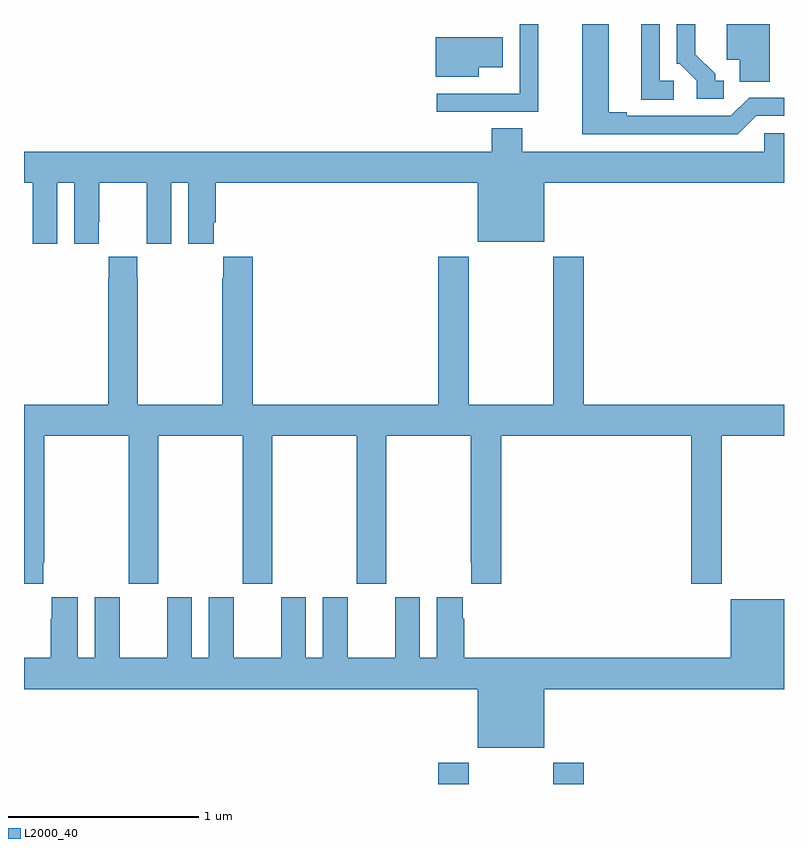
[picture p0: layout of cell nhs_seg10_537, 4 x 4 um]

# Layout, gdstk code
import gdstk
lib = gdstk.Library(unit=1e-6, precision=1e-09)
def R(c, l, rs):  # rectangles x0, y0, x1, y1
    for r in rs: c.add(gdstk.rectangle(r[:2], r[2:], *l))
def P(c, l, *ps):  # polygons
    for p in ps: c.add(gdstk.Polygon(p, *l))
L2000_40 = (2000, 40)

nhs_seg10_537 = lib.new_cell('nhs_seg10_537')
R(nhs_seg10_537, L2000_40, [(139.181,1282.5,139.341,1282.612), (139.786,1282.5,139.946,1282.612)])
P(nhs_seg10_537, L2000_40, [(140.683,1286.202),(140.638,1286.202),(140.638,1286.237),(140.533,1286.342),(140.533,1286.5),(140.436,1286.5),(140.436,1286.292),(140.451,1286.292),(140.541,1286.202),(140.541,1286.106),(140.683,1286.106)],
  [(140.853,1286.016),(141,1286.016),(141,1286.112),(140.817,1286.112),(140.721,1286.016),(140.173,1286.016),(140.173,1286.036),(140.077,1286.036),(140.077,1286.5),(139.937,1286.5),(139.937,1285.92),(140.757,1285.92)],
  [(139.707,1286.5),(139.608,1286.5),(139.608,1286.134),(139.607,1286.134),(139.607,1286.133),(139.173,1286.133),(139.173,1286.037),(139.707,1286.037)],
  [(140.419,1286.202),(140.346,1286.202),(140.346,1286.5),(140.249,1286.5),(140.249,1286.101),(140.419,1286.101)],
  [(140.926,1286.5),(140.699,1286.5),(140.699,1286.312),(140.768,1286.312),(140.768,1286.197),(140.926,1286.197)],
  [(139.393,1286.273),(139.519,1286.273),(139.519,1286.431),(139.166,1286.431),(139.166,1286.222),(139.393,1286.222)],
  [(137.176,1285.664),(137.264,1285.664),(137.264,1285.344),(137.394,1285.344),(137.394,1285.456),(137.395,1285.456),(137.395,1285.664),(137.645,1285.664),(137.645,1285.456),(137.646,1285.456),(137.646,1285.344),(137.776,1285.344),(137.776,1285.664),(137.864,1285.664),(137.864,1285.344),(137.998,1285.344),(137.998,1285.456),(138.008,1285.456),(138.008,1285.664),(139.388,1285.664),(139.388,1285.355),(139.738,1285.355),(139.738,1285.664),(141,1285.664),(141,1285.926),(140.895,1285.926),(140.895,1285.828),(139.623,1285.828),(139.623,1285.952),(139.463,1285.952),(139.463,1285.828),(137,1285.828),(137,1285.664),(137.045,1285.664),(137.045,1285.456),(137.046,1285.456),(137.046,1285.344),(137.176,1285.344)],
  [(137.101,1283.665),(137.106,1283.665),(137.106,1284.332),(137.551,1284.332),(137.551,1283.553),(137.706,1283.553),(137.706,1284.332),(138.151,1284.332),(138.151,1283.553),(138.306,1283.553),(138.306,1284.332),(138.751,1284.332),(138.751,1283.553),(138.906,1283.553),(138.906,1284.332),(139.351,1284.332),(139.351,1283.665),(139.355,1283.665),(139.355,1283.553),(139.511,1283.553),(139.511,1284.332),(140.513,1284.332),(140.513,1283.553),(140.673,1283.553),(140.673,1284.332),(141,1284.332),(141,1284.496),(139.946,1284.496),(139.946,1285.276),(139.786,1285.276),(139.786,1284.496),(139.341,1284.496),(139.341,1285.276),(139.181,1285.276),(139.181,1284.496),(138.203,1284.496),(138.203,1285.276),(138.049,1285.276),(138.049,1285.163),(138.043,1285.163),(138.043,1284.496),(137.598,1284.496),(137.598,1285.163),(137.595,1285.163),(137.595,1285.276),(137.445,1285.276),(137.445,1285.163),(137.443,1285.163),(137.443,1284.496),(137,1284.496),(137,1283.553),(137.101,1283.553)],
  [(139.738,1283),(141,1283),(141,1283.473),(140.72,1283.473),(140.72,1283.164),(139.316,1283.164),(139.316,1283.369),(139.309,1283.369),(139.309,1283.482),(139.172,1283.482),(139.172,1283.164),(139.084,1283.164),(139.084,1283.482),(138.953,1283.482),(138.953,1283.164),(138.703,1283.164),(138.703,1283.482),(138.572,1283.482),(138.572,1283.164),(138.484,1283.164),(138.484,1283.482),(138.353,1283.482),(138.353,1283.164),(138.103,1283.164),(138.103,1283.482),(137.972,1283.482),(137.972,1283.164),(137.884,1283.164),(137.884,1283.482),(137.753,1283.482),(137.753,1283.164),(137.503,1283.164),(137.503,1283.482),(137.372,1283.482),(137.372,1283.164),(137.284,1283.164),(137.284,1283.482),(137.147,1283.482),(137.147,1283.369),(137.141,1283.369),(137.141,1283.164),(137,1283.164),(137,1283),(139.388,1283),(139.388,1282.691),(139.738,1282.691)])

lib.write_gds('nhs_seg10_537.gds')
